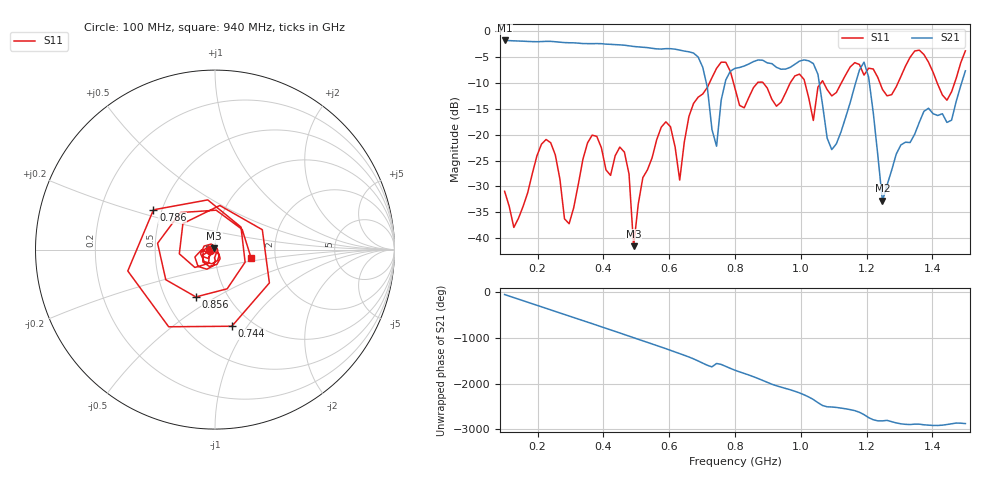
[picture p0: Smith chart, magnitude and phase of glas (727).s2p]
! NanoVNA-App
! Date: 2025-09-25 16:01:08
! Start: 100MHz Stop: 1,5GHz Points: 101
! S-Parameter data: F S11 S21 S12 S22
# Hz S RI R 50
!  Frequency  S11_Real  S11_Imag  S21_Real  S21_Imag  S12_Real  S12_Imag  S22_Real  S22_Imag
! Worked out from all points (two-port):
!   101 points, 100 MHz to 1.5 GHz, reference 50 ohm
!   highest |S21| = -1.80 dB at 100 MHz (marker M1); lowest = -32.8 dB at 1.248 GHz (marker M2)
!   |S21| within 3 dB of the highest: start of sweep to 684.3 MHz
!   lowest |S11| = -41.5 dB at 492 MHz (marker M3), VSWR 1.02, Z = 49.5 + j0.629 ohm
!   |S11| at or under -10 dB: start of sweep to 722.5 MHz; 795.5 MHz to 868.1 MHz (72.64 MHz wide, 8.73 % of centre); 885.9 MHz to 967.8 MHz (81.89 MHz wide, 8.84 % of centre) (the widest 3 of 7)
!   S12 and S22 are empty: the file has one direction only
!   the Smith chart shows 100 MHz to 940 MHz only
!   S11 on the Smith chart (normalised r, x): 100 MHz: 0.94, -0.01; 744 MHz: 0.81, -0.85; 786 MHz: 0.45, +0.24; 856 MHz: 0.71, -0.41; 940 MHz: 1.50, -0.14
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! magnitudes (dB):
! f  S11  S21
! 100 MHz  -30.9  -1.8
! 128 MHz  -37.9  -1.9
! 226 MHz  -20.9  -2.0
! 296 MHz  -37.2  -2.2
! 338 MHz  -24.7  -2.4
! 464 MHz  -23.4  -2.7
! 492 MHz  -41.5  -3.0
! 576 MHz  -18.5  -3.5
! 632 MHz  -28.8  -3.7
! 702 MHz  -12.1  -7.0
! 744 MHz  -7.2  -22.2
! 786 MHz  -7.8  -7.7
! 800 MHz  -11.1  -7.2
! 856 MHz  -10.9  -5.9
! 940 MHz  -13.7  -7.4
! 996 MHz  -8.3  -5.8
! 1.038 GHz  -17.2  -6.3
! 1.094 GHz  -12.5  -22.9
! 1.192 GHz  -8.5  -6.0
! 1.248 GHz  -11.3  -32.8
! 1.276 GHz  -12.3  -26.9
! 1.5 GHz  -3.8  -7.7
